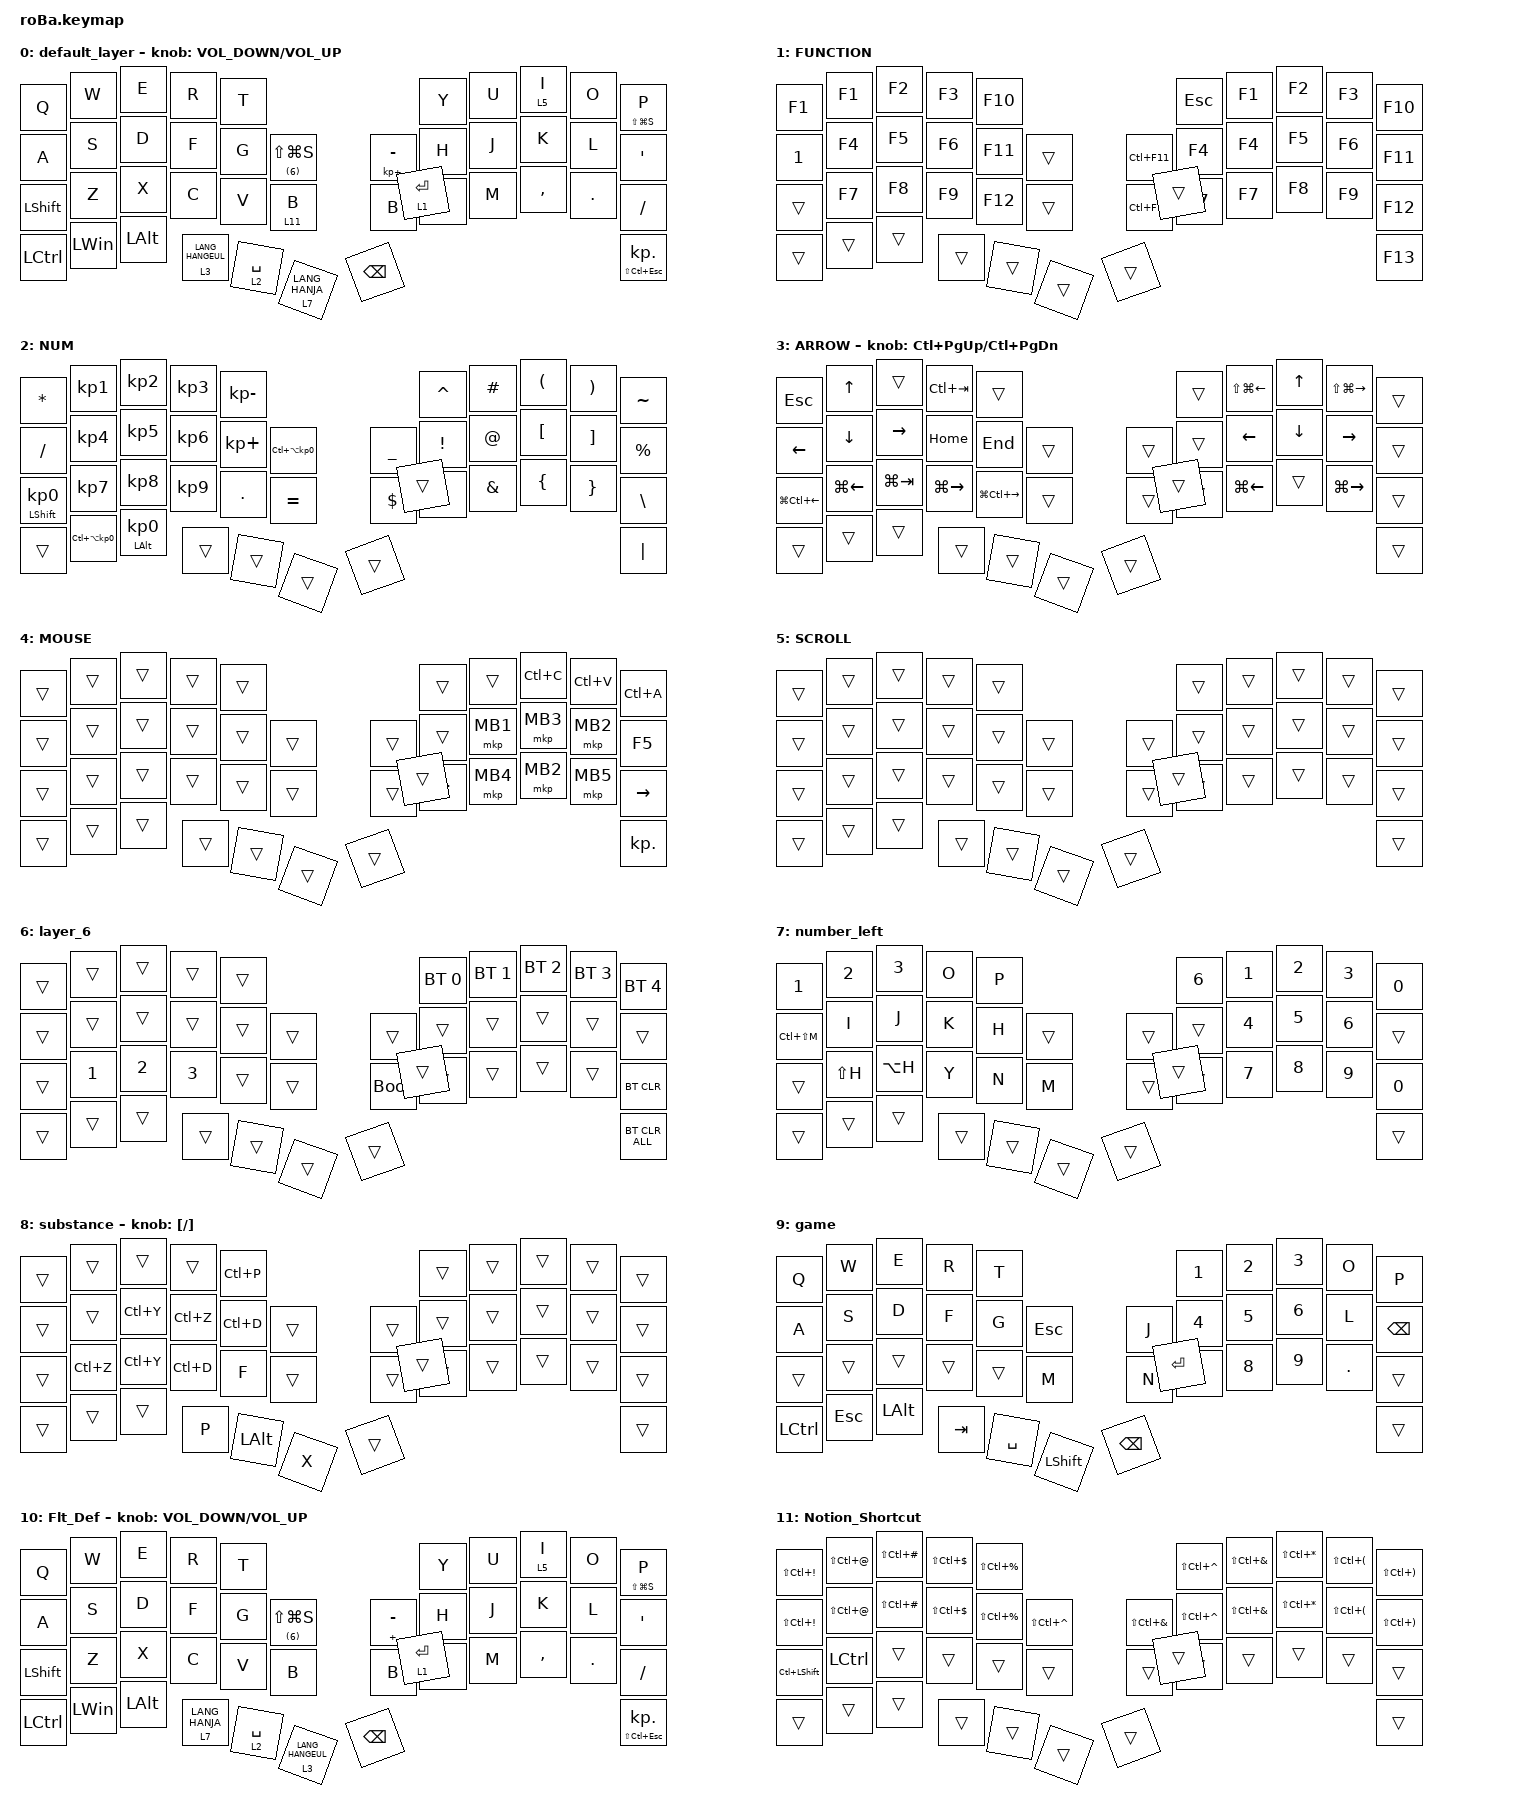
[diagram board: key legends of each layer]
#include <input/processors.dtsi>
#include <behaviors.dtsi>
#include <dt-bindings/zmk/bt.h>
#include <dt-bindings/zmk/keys.h>
#include <dt-bindings/zmk/pointing.h>

#define MOUSE 4 // 各自のマウスレイヤーに合わせて設定

&mkp_input_listener { input-processors = <&zip_temp_layer MOUSE 250>; };

&mt {
    flavor = "balanced";
    quick-tap-ms = <0>;
};

&trackball {
    automouse-layer = <4>;
    scroll-layers = <5>;

    // arrows {
    //     layers = <3>;
    //     bindings =
    //         <&kp RIGHT_ARROW>,
    //         <&kp LEFT_ARROW>,
    //         <&kp UP_ARROW>,
    //         <&kp DOWN_ARROW>;
    //     tick = <10>;
    //     wait-ms = <5>;
    //     tap-ms = <5>;
    // };
};

/ {
    /omit-if-no-ref/

    zip_temp_layer: zip_temp_layer {
        compatible = "zmk,input-processor-temp-layer";
        #input-processor-cells = <2>;
        require-prior-idle-ms = <500>;   // ← 非マウスキー後0.5秒はAMLを起動しない
    };
};

/ {
    combos {
        compatible = "zmk,combos";

        shift+tab {
            bindings = <&kp LS(TAB)>;
            key-positions = <24 25>;
        };

        ctrl+tgab {
            bindings = <&kp LC(TAB)>;
            key-positions = <12 11>;
        };

        tab {
            bindings = <&to_layer_0 TAB>;
            key-positions = <12 13>;
        };

        double_quotation {
            bindings = <&kp DOUBLE_QUOTES>;
            key-positions = <20 21>;
        };

        eq {
            bindings = <&kp EQUAL>;
            key-positions = <24 25>;
        };

        sub1 {
            bindings = <&kp LC(N1)>;
            key-positions = <0 1>;
        };

        delete {
            bindings = <&kp DELETE>;
            key-positions = <39 40>;
        };

        mouselook {
            bindings = <&kp A>;
            key-positions = <18 20 19 22 34 35 36>;
        };

        scloll_test {
            bindings = <&mo 5>;
            key-positions = <19 20>;
        };

        substanse_layer {
            bindings = <&to 8>;
            key-positions = <4 26>;
        };

        def {
            bindings = <&to 0>;
            key-positions = <42 33>;
        };

        colon {
            bindings = <&kp COLON>;
            key-positions = <32 33>;
        };

        Non_AML {
            bindings = <&to 10>;
            key-positions = <21 42>;
        };

        def_left {
            bindings = <&to 0>;
            key-positions = <4 14>;
        };

        enter {
            bindings = <&kp ENTER>;
            key-positions = <27 39>;
        };

        backspace {
            bindings = <&kp BACKSPACE>;
            key-positions = <27 38>;
        };

        game {
            bindings = <&to 9>;
            key-positions = <14 30>;
        };
    };

    macros {
        to_layer_0: to_layer_0 {
            compatible = "zmk,behavior-macro-one-param";
            #binding-cells = <1>;
            bindings = <&to 0 &macro_param_1to1 &kp MACRO_PLACEHOLDER>;
            label = "TO_LAYER_0";
        };

        alt_mb3: new_macro {
            compatible = "zmk,behavior-macro";
            #binding-cells = <0>;
            bindings = <&kp LEFT_ALT &mkp MB3>;
            label = "NEW_MACRO";
        };
    };

    behaviors {
        lt_to_layer_0: lt_to_layer_0 {
            compatible = "zmk,behavior-hold-tap";
            label = "LAYER_TAP_TO_0";
            bindings = <&mo>, <&to_layer_0>;

            #binding-cells = <2>;
            tapping-term-ms = <200>;
        };
    };

    keymap {
        compatible = "zmk,keymap";

        default_layer {
            bindings = <
&kp Q      &kp W         &kp E         &kp R               &kp T                                                  &kp Y        &kp U  &lt 5 I    &kp O    &mt LS(LG(S)) P
&kp A      &kp S         &kp D         &kp F               &kp G        &lt (6) LS(LG(S))      &mt KP_PLUS MINUS  &kp H        &kp J  &kp K      &kp L    &kp SQT
&kp LSHFT  &kp Z         &kp X         &kp C               &kp V        &lt 11 B               &kp B              &kp N        &kp M  &kp COMMA  &kp DOT  &kp SLASH
&kp LCTRL  &kp LEFT_WIN  &kp LEFT_ALT  &lt 3 LANG_HANGEUL  &lt 2 SPACE  &lt 7 LANG_HANJA       &kp BACKSPACE      &lt 1 ENTER                             &mt LS(LC(ESCAPE)) KP_DOT
            >;

            sensor-bindings = <&inc_dec_kp C_VOLUME_DOWN C_VOLUME_UP>;
        };

        FUNCTION {
            bindings = <
&kp F1        &kp F1  &kp F2  &kp F3  &kp F10                           &kp ESC  &kp F1  &kp F2  &kp F3  &kp F10
&kp NUMBER_1  &kp F4  &kp F5  &kp F6  &kp F11  &trans      &kp LC(F11)  &kp F4   &kp F4  &kp F5  &kp F6  &kp F11
&trans        &kp F7  &kp F8  &kp F9  &kp F12  &trans      &kp LC(F12)  &kp F7   &kp F7  &kp F8  &kp F9  &kp F12
&trans        &trans  &trans  &trans  &trans   &trans      &trans       &trans                           &kp F13
            >;
        };

        NUM {
            bindings = <
&kp ASTRK                   &kp KP_NUMBER_1          &kp KP_NUMBER_2     &kp KP_NUMBER_3  &kp KP_MINUS                                               &kp CARET        &kp HASH       &kp LEFT_PARENTHESIS  &kp RIGHT_PARENTHESIS  &kp TILDE
&kp SLASH                   &kp KP_NUMBER_4          &kp KP_NUMBER_5     &kp KP_NUMBER_6  &kp KP_PLUS   &kp LC(LA(KP_NUMBER_0))      &kp UNDERSCORE  &kp EXCLAMATION  &kp AT_SIGN    &kp LEFT_BRACKET      &kp RIGHT_BRACKET      &kp PERCENT
&mt LEFT_SHIFT KP_NUMBER_0  &kp KP_NUMBER_7          &kp KP_NUMBER_8     &kp KP_NUMBER_9  &kp PERIOD    &kp EQUAL                    &kp DOLLAR      &kp QUESTION     &kp AMPERSAND  &kp LEFT_BRACE        &kp RIGHT_BRACE        &kp BACKSLASH
&trans                      &kp LC(LA(KP_NUMBER_0))  &mt LEFT_ALT KP_N0  &trans           &trans        &trans                       &trans          &trans                                                                       &kp PIPE
            >;
        };

        ARROW {
            bindings = <
&kp ESCAPE        &kp UP_ARROW    &trans       &kp LC(TAB)    &trans                                 &trans  &kp LS(LG(LEFT_ARROW))  &kp UP_ARROW  &kp LS(LG(RIGHT))  &trans
&kp LEFT          &kp DOWN_ARROW  &kp RIGHT    &kp HOME       &kp END            &trans      &trans  &trans  &kp LEFT                &kp DOWN      &kp RIGHT          &trans
&kp LG(LC(LEFT))  &kp LG(LEFT)    &kp LG(TAB)  &kp LG(RIGHT)  &kp LG(LC(RIGHT))  &trans      &trans  &trans  &kp LG(LEFT)            &trans        &kp LG(RIGHT)      &trans
&trans            &trans          &trans       &trans         &trans             &trans      &trans  &trans                                                           &trans
            >;

            sensor-bindings = <&inc_dec_kp LC(PAGE_UP) LC(PAGE_DOWN)>;
        };

        MOUSE {
            bindings = <
&trans  &trans  &trans  &trans  &trans                      &trans    &trans    &kp LC(C)  &kp LC(V)  &kp LC(A)
&trans  &trans  &trans  &trans  &trans  &trans      &trans  &trans    &mkp MB1  &mkp MB3   &mkp MB2   &kp F5
&trans  &trans  &trans  &trans  &trans  &trans      &trans  &kp LEFT  &mkp MB4  &mkp MB2   &mkp MB5   &kp RIGHT
&trans  &trans  &trans  &trans  &trans  &trans      &trans  &trans                                    &kp KP_DOT
            >;
        };

        SCROLL {
            bindings = <
&trans  &trans  &trans  &trans  &trans                      &trans  &trans  &trans  &trans  &trans
&trans  &trans  &trans  &trans  &trans  &trans      &trans  &trans  &trans  &trans  &trans  &trans
&trans  &trans  &trans  &trans  &trans  &trans      &trans  &trans  &trans  &trans  &trans  &trans
&trans  &trans  &trans  &trans  &trans  &trans      &trans  &trans                          &trans
            >;
        };

        layer_6 {
            bindings = <
&trans  &trans        &trans        &trans        &trans                           &bt BT_SEL 0  &bt BT_SEL 1  &bt BT_SEL 2  &bt BT_SEL 3  &bt BT_SEL 4
&trans  &trans        &trans        &trans        &trans  &trans      &trans       &trans        &trans        &trans        &trans        &trans
&trans  &kp NUMBER_1  &kp NUMBER_2  &kp NUMBER_3  &trans  &trans      &bootloader  &trans        &trans        &trans        &trans        &bt BT_CLR
&trans  &trans        &trans        &trans        &trans  &trans      &trans       &trans                                                  &bt BT_CLR_ALL
            >;
        };

        number_left {
            bindings = <
&kp N1         &kp N2     &kp N3     &kp O   &kp P                       &kp N6  &kp N1  &kp N2  &kp N3  &kp N0
&kp LC(LS(M))  &kp I      &kp J      &kp K   &kp H   &trans      &trans  &trans  &kp N4  &kp N5  &kp N6  &trans
&trans         &kp LS(H)  &kp LA(H)  &kp Y   &kp N   &kp M       &trans  &trans  &kp N7  &kp N8  &kp N9  &kp N0
&trans         &trans     &trans     &trans  &trans  &trans      &trans  &trans                          &trans
            >;
        };

        substance {
            bindings = <
&trans  &trans     &trans     &trans     &kp LC(P)                         &trans  &trans  &trans  &trans  &trans
&trans  &trans     &kp LC(Y)  &kp LC(Z)  &kp LC(D)     &trans      &trans  &trans  &trans  &trans  &trans  &trans
&trans  &kp LC(Z)  &kp LC(Y)  &kp LC(D)  &kp F         &trans      &trans  &trans  &trans  &trans  &trans  &trans
&trans  &trans     &trans     &kp P      &kp LEFT_ALT  &kp X       &trans  &trans                          &trans
            >;

            sensor-bindings = <&inc_dec_kp LEFT_BRACKET RIGHT_BRACKET>;
        };

        game {
            bindings = <
&kp Q      &kp W    &kp E     &kp R    &kp T                                    &kp N1   &kp N2  &kp N3  &kp O    &kp P
&kp A      &kp S    &kp D     &kp F    &kp G      &kp ESC             &kp J     &kp N4   &kp N5  &kp N6  &kp L    &kp BSPC
&trans     &trans   &trans    &trans   &trans     &kp M               &kp N     &kp N7   &kp N8  &kp N9  &kp DOT  &trans
&kp LCTRL  &kp ESC  &kp LALT  &kp TAB  &kp SPACE  &kp LEFT_SHIFT      &kp BSPC  &kp RET                           &trans
            >;
        };

        Flt_Def {
            bindings = <
&kp Q      &kp W         &kp E         &kp R             &kp T                                                &kp Y        &kp U  &lt 5 I    &kp O    &mt LS(LG(S)) P
&kp A      &kp S         &kp D         &kp F             &kp G        &lt (6) LS(LG(S))       &mt PLUS MINUS  &kp H        &kp J  &kp K      &kp L    &kp SQT
&kp LSHFT  &kp Z         &kp X         &kp C             &kp V        &kp B                   &kp B           &kp N        &kp M  &kp COMMA  &kp DOT  &kp SLASH
&kp LCTRL  &kp LEFT_WIN  &kp LEFT_ALT  &lt 7 LANG_HANJA  &lt 2 SPACE  &lt 3 LANG_HANGEUL      &kp BACKSPACE   &lt 1 ENTER                             &mt LS(LC(ESCAPE)) KP_DOT
            >;

            sensor-bindings = <&inc_dec_kp C_VOLUME_DOWN C_VOLUME_UP>;
        };

        Notion_Shortcut {
            bindings = <
&kp LS(LC(EXCL))  &kp LS(LC(AT))  &kp LS(LC(POUND))  &kp LS(LC(DLLR))  &kp LS(LC(PRCNT))                                           &kp LS(LC(CARET))  &kp LS(LC(AMPS))  &kp LS(LC(STAR))  &kp LS(LC(LPAR))  &kp LS(LC(RPAR))
&kp LS(LC(EXCL))  &kp LS(LC(AT))  &kp LS(LC(POUND))  &kp LS(LC(DLLR))  &kp LS(LC(PRCNT))  &kp LS(LC(CARET))      &kp LS(LC(AMPS))  &kp LS(LC(CARET))  &kp LS(LC(AMPS))  &kp LS(LC(STAR))  &kp LS(LC(LPAR))  &kp LS(LC(RPAR))
&kp LC(LSHFT)     &kp LCTRL       &trans             &trans            &trans             &trans                 &trans            &trans             &trans            &trans            &trans            &trans
&trans            &trans          &trans             &trans            &trans             &trans                 &trans            &trans                                                                   &trans
            >;
        };
    };
};
